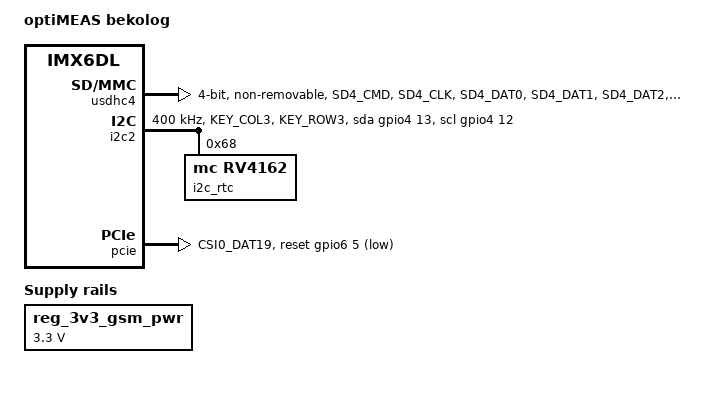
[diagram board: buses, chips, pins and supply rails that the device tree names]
/*
 * Copyright 2014-2017 Lothar Waßmann <LW@KARO-electronics.de>
 * Copyright 2021 Matthias Klein <matthias.klein@optimeas.de>
 *
 * This file is dual-licensed: you can use it either under the terms
 * of the GPL or the X11 license, at your option. Note that this dual
 * licensing only applies to this file, and not this project as a
 * whole.
 *
 *  a) This file is free software; you can redistribute it and/or
 *     modify it under the terms of the GNU General Public License
 *     version 2 as published by the Free Software Foundation.
 *
 *     This file is distributed in the hope that it will be useful,
 *     but WITHOUT ANY WARRANTY; without even the implied warranty of
 *     MERCHANTABILITY or FITNESS FOR A PARTICULAR PURPOSE.  See the
 *     GNU General Public License for more details.
 *
 * Or, alternatively,
 *
 *  b) Permission is hereby granted, free of charge, to any person
 *     obtaining a copy of this software and associated documentation
 *     files (the "Software"), to deal in the Software without
 *     restriction, including without limitation the rights to use,
 *     copy, modify, merge, publish, distribute, sublicense, and/or
 *     sell copies of the Software, and to permit persons to whom the
 *     Software is furnished to do so, subject to the following
 *     conditions:
 *
 *     The above copyright notice and this permission notice shall be
 *     included in all copies or substantial portions of the Software.
 *
 *     THE SOFTWARE IS PROVIDED "AS IS", WITHOUT WARRANTY OF ANY KIND,
 *     EXPRESS OR IMPLIED, INCLUDING BUT NOT LIMITED TO THE WARRANTIES
 *     OF MERCHANTABILITY, FITNESS FOR A PARTICULAR PURPOSE AND
 *     NONINFRINGEMENT. IN NO EVENT SHALL THE AUTHORS OR COPYRIGHT
 *     HOLDERS BE LIABLE FOR ANY CLAIM, DAMAGES OR OTHER LIABILITY,
 *     WHETHER IN AN ACTION OF CONTRACT, TORT OR OTHERWISE, ARISING
 *     FROM, OUT OF OR IN CONNECTION WITH THE SOFTWARE OR THE USE OR
 *     OTHER DEALINGS IN THE SOFTWARE.
 *
 *     based on imx6dl-tx6u-8033.dts
 */

/dts-v1/;
#include "imx6dl.dtsi"
#include "imx6qdl-tx6.dtsi"
#include "imx6qdl-tx6-lcd.dtsi"

/ {
	model = "optiMEAS bekolog";
	compatible = "optimeas,tx6u-bekolog", "karo,imx6dl-tx6dl", "fsl,imx6dl";

	reg_3v3_gsm_pwr: regulator-gsm-power {
		compatible = "regulator-fixed";
		regulator-name = "GSM_3v3_MCU";
		regulator-min-microvolt = <3300000>;
		regulator-max-microvolt = <3300000>;
		regulator-always-on;
	};

	/* Fixed indices for mmcblk devices */
	aliases {
		mmc0 = &usdhc1; /* 2190000 | /dev/mmcblk0 | external SD card */
		mmc1 = &usdhc2; /* 2194000 | /dev/mmcblk1 | internal SD card on smartMINI */
		mmc2 = &usdhc4; /* 219c000 | /dev/mmcblk2 | eMMC */
		mmc3 = &usdhc3; /* 2198000 | /dev/mmcblk3 | not used */
	};

	/delete-node/ sound;
	/delete-node/ gpio-keys;
};

&uart2 {
	pinctrl-0 = <&pinctrl_uart2 &pinctrl_uart2_rtscts>;
	fsl,uart-has-rtscts;
    linux,rs485-enabled-at-boot-time;
};

&uart3 {
	pinctrl-0 = <&pinctrl_uart3 &pinctrl_uart3_rtscts>;
	fsl,uart-has-rtscts;
    linux,rs485-enabled-at-boot-time;
};

&snvs_rtc {
	status = "disabled";
};

&ds1339 {
	status = "disabled";
};

&gpmi {
	status = "disabled";
};

&sgtl5000 {
	status = "disabled";
};

&kpp {
	status = "disabled";
};

&usdhc4 {
	pinctrl-names = "default";
	pinctrl-0 = <&pinctrl_usdhc4>;
	bus-width = <4>;
	non-removable;
	no-1-8-v;
	fsl,wp-controller;
	status = "okay";
};

/* I2C2 - pin 80 + 75 */
&i2c2 {
	pinctrl-names = "default", "gpio";
	pinctrl-0 = <&pinctrl_i2c2>;
	pinctrl-1 = <&pinctrl_i2c2_gpio>;
	scl-gpios = <&gpio4 12 GPIO_ACTIVE_HIGH>;
	sda-gpios = <&gpio4 13 GPIO_ACTIVE_HIGH>;
	clock-frequency = <400000>;
	status = "okay";
};

&i2c2 {
	i2c_rtc: rv4162@68 {
		compatible = "mc,rv4162";
		reg = <0x68>;
	};
};

&pcie {
	pcie-bus-supply = <&reg_3v3_gsm_pwr>;
	pinctrl-names = "default";
	pinctrl-0 = <&pinctrl_pcie>;
	reset-gpio = <&gpio6 5 GPIO_ACTIVE_LOW>;
	status = "okay";
};

&can1 {
	status = "disabled";
};

&iomuxc {
	pinctrl_usdhc4: usdhc4grp {
		fsl,pins = <
			MX6QDL_PAD_SD4_CMD__SD4_CMD		0x070b1
			MX6QDL_PAD_SD4_CLK__SD4_CLK		0x070b1
			MX6QDL_PAD_SD4_DAT0__SD4_DATA0		0x070b1
			MX6QDL_PAD_SD4_DAT1__SD4_DATA1		0x070b1
			MX6QDL_PAD_SD4_DAT2__SD4_DATA2		0x070b1
			MX6QDL_PAD_SD4_DAT3__SD4_DATA3		0x070b1
			MX6QDL_PAD_NANDF_ALE__SD4_RESET		0x0b0b1
		>;
	};

	pinctrl_i2c2: i2c2grp {
		fsl,pins = <
			MX6QDL_PAD_KEY_COL3__I2C2_SCL		0x4001b8b1
			MX6QDL_PAD_KEY_ROW3__I2C2_SDA		0x4001b8b1
		>;
	};

	pinctrl_i2c2_gpio: i2c2-gpiogrp {
		fsl,pins = <
			MX6QDL_PAD_KEY_COL3__GPIO4_IO12		0x4001b8b1
			MX6QDL_PAD_KEY_ROW3__GPIO4_IO13		0x4001b8b1
		>;
	};

	pinctrl_pcie: pciegrp {
		fsl,pins = <
			MX6QDL_PAD_CSI0_DAT19__GPIO6_IO05	0x1b0b0
		>;
	};
};

